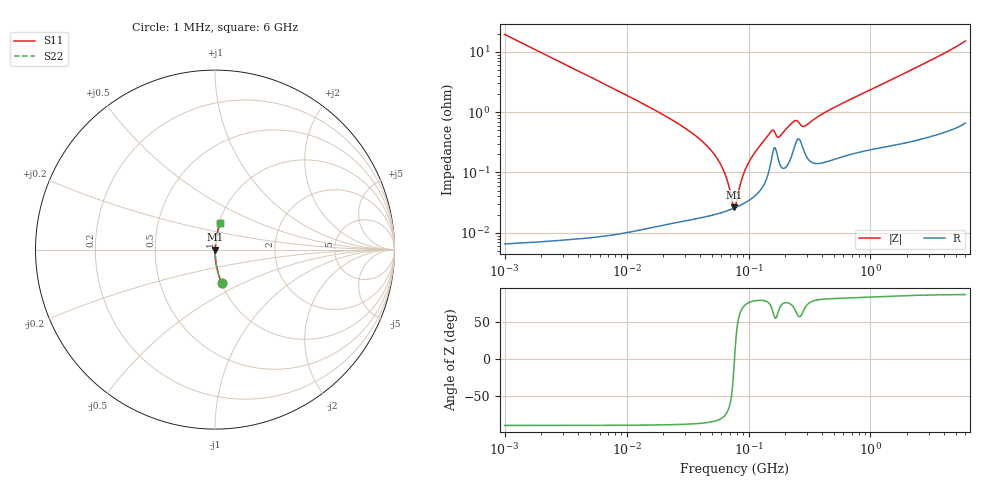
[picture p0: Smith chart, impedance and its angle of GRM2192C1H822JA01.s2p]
!Murata Part Number: GRM2192C1H822JA01
!These Parameters are Measured in Series Mode Connection
!Data Generated on Mar 30, 2021
!  o--ll--o
!Port1  Port2
!  o------o
!Operation Temp=25[degC], DC Bias Voltage=0[V]
!Freq. Start=1000[kHz] Stop=6[GHz] 401[Steps]
# Hz S RI R 50
!Freq.(Hz) S11(Real) S11(Imag) S21(Real) S21(Imag) S12(Real) S12(Imag) S22(Real) S22(Imag)
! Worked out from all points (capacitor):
!   401 points, 1 MHz to 6 GHz, reference 50 ohm
!   read as one part in series: C = 8.16 nF near 1.044 MHz
!   lowest |Z| = 26.3 mohm at 75.79 MHz (marker M1)
!   series resonance near 76.73 MHz, so ESL is about 530 pH
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1000000  0.0367 -0.1879  0.9633 0.1879  0.9633 0.1879  0.0367 -0.1879
4293785  0.00212 -0.0452  0.9979 0.0452  0.9979 0.0452  0.00212 -0.0452
1.843659e7  0.000228 -0.00994  0.9998 0.00994  0.9998 0.00994  0.000228 -0.00994
3.389622e7  0.000186 -0.00462  0.9998 0.00462  0.9998 0.00462  0.000186 -0.00462
5.013812e7  0.0002 -0.00223  0.9998 0.00223  0.9998 0.00223  0.0002 -0.00223
6.23192e7  0.000222 -0.00107  0.9998 0.00107  0.9998 0.00107  0.000222 -0.00107
6.652088e7  0.000231 -0.000732  0.9998 0.000732  0.9998 0.000732  0.000231 -0.000732
7.57932e7  0.000255 -6.26e-05  0.9997 6.26e-05  0.9997 6.26e-05  0.000255 -6.26e-05
7.745967e7  0.00026 4.93e-05  0.9997 -4.93e-05  0.9997 -4.93e-05  0.00026 4.93e-05
8.090333e7  0.00027 0.000274  0.9997 -0.000274  0.9997 -0.000274  0.00027 0.000274
8.825674e7  0.000295 0.000729  0.9997 -0.000729  0.9997 -0.000729  0.000295 0.000729
9.83954e7  0.000335 0.00132  0.9997 -0.00132  0.9997 -0.00132  0.000335 0.00132
1.145757e8  0.000425 0.00221  0.9996 -0.00221  0.9996 -0.00221  0.000425 0.00221
1.520136e8  0.00144 0.00447  0.9986 -0.00447  0.9986 -0.00447  0.00144 0.00447
1.587717e8  0.00225 0.00451  0.9977 -0.00451  0.9977 -0.00451  0.00225 0.00451
1.770109e8  0.00156 0.00352  0.9984 -0.00352  0.9984 -0.00352  0.00156 0.00352
2.348496e8  0.00246 0.00658  0.9975 -0.00658  0.9975 -0.00658  0.00246 0.00658
2.856264e8  0.00227 0.00534  0.9977 -0.00534  0.9977 -0.00534  0.00227 0.00534
3.325952e8  0.0015 0.00708  0.9985 -0.00708  0.9985 -0.00708  0.0015 0.00708
5.027802e8  0.00178 0.0118  0.9982 -0.0118  0.9982 -0.0118  0.00178 0.0118
1.428092e9  0.00382 0.033  0.9962 -0.033  0.9962 -0.033  0.00382 0.033
6e9  0.0288 0.147  0.9712 -0.147  0.9712 -0.147  0.0288 0.147
